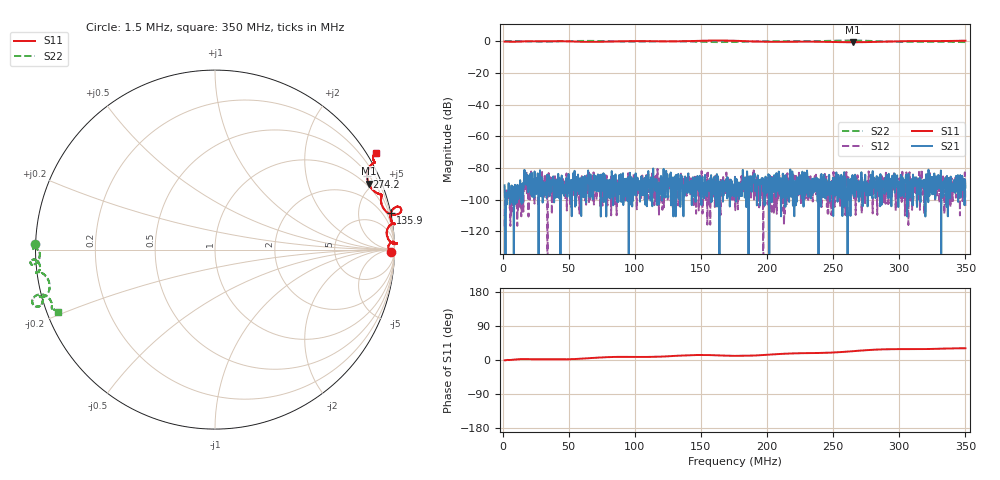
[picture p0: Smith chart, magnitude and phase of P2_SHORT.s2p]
# Hz S RI R 50
! RAW DATA - UNCALIBRATED
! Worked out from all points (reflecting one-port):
!   1601 points, 1.5 MHz to 350 MHz, reference 50 ohm
!   lowest |S11| = -0.6 dB at 265.1 MHz (marker M1), VSWR 28.07, Z = 42.5 + j235 ohm
!   phase of S11 starts at -1 deg and turns +32 deg over the sweep
!   S11 on the Smith chart (normalised r, x): 1.5 MHz: 62, -44; 135.9 MHz: -0.06, +9.59; 274.2 MHz: 0.61, +4.31; 350 MHz: -0.32, +3.58
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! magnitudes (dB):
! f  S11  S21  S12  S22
! 1.5 MHz  -0.2  -91.0  -117.0  0.0
! 8.47 MHz  -0.3  -184.3  -107.6  0.1
! 17.84 MHz  0.0  -90.5  -87.9  -0.1
! 24.15 MHz  0.0  -82.3  -102.6  -0.2
! 37.44 MHz  0.1  -89.6  -93.1  -0.1
! 59.66 MHz  -0.3  -94.3  -95.8  0.2
! 72.94 MHz  -0.3  -93.6  -90.6  0.2
! 97.34 MHz  0.1  -94.7  -93.1  -0.2
! 117.8 MHz  0.0  -92.1  -97.0  0.0
! 135.9 MHz  0.0  -91.3  -85.3  0.0
! 159.6 MHz  0.5  -96.5  -90.8  -0.5
! 168.3 MHz  0.5  -94.9  -96.7  -0.5
! 175.8 MHz  0.3  -85.8  -85.6  -0.4
! 200.8 MHz  -0.3  -95.6  -92.7  0.1
! 233.9 MHz  -0.2  -97.5  -87.6  0.0
! 254.8 MHz  -0.5  -98.4  -85.9  0.4
! 265.1 MHz  -0.6  -90.4  -92.7  0.5
! 274.2 MHz  -0.5  -84.3  -103.5  0.3
! 292.1 MHz  -0.1  -83.7  -86.5  -0.2
! 304.3 MHz  0.1  -87.8  -110.1  -0.4
! 330.2 MHz  0.1  -92.5  -86.6  -0.3
! 350 MHz  0.4  -92.4  -104.0  -0.5
